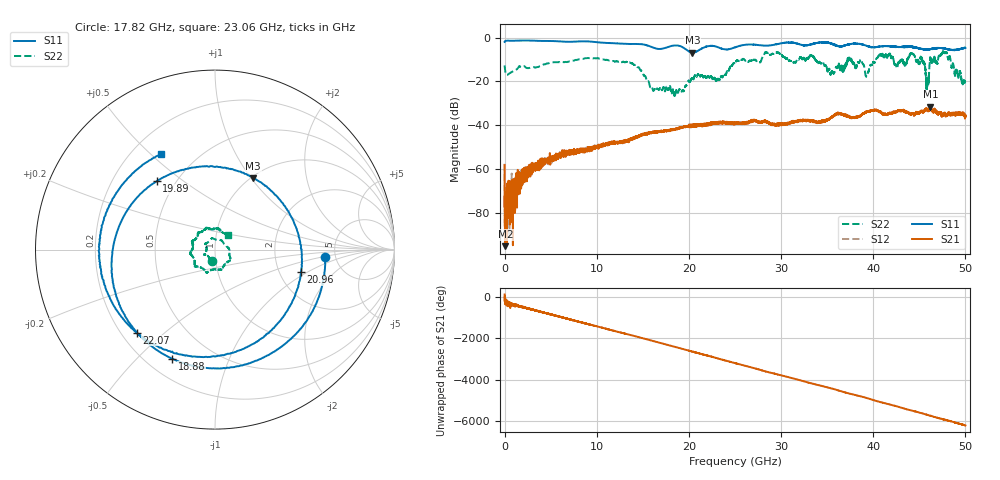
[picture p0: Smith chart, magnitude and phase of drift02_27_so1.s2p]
!Created with skrf (http://scikit-rf.org).
# Hz S RI R 50.0
!freq ReS11 ImS11 ReS21 ImS21 ReS12 ImS12 ReS22 ImS22
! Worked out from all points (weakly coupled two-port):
!   10001 points, 300 kHz to 50 GHz, reference 50 ohm
!   highest |S21| = -31.49 dB at 46.2 GHz (marker M1); lowest = -95.0 dB at 85.3 MHz (marker M2)
!   lowest |S11| = -6.9 dB at 20.38 GHz (marker M3), VSWR 2.64, Z = 51.2 + j51.2 ohm
!   |S11| at or under -10 dB: nowhere
!   |S22| runs from -26.7 to -6.3 dB; largest |S21 - S12| = 0.0028
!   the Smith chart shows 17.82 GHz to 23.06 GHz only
!   S11 on the Smith chart (normalised r, x): 17.82 GHz: 4.14, -0.54; 18.88 GHz: 0.30, -0.64; 19.89 GHz: 0.39, +0.40; 20.96 GHz: 2.63, -0.89; 22.07 GHz: 0.26, -0.41; 23.06 GHz: 0.32, +0.54
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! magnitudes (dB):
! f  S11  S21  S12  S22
! 300 kHz  -2.1  -58.1  -57.5  -12.7
! 85.3 MHz  -1.5  -95.0  -84.0  -16.0
! 260.3 MHz  -1.4  -66.5  -70.4  -17.0
! 8.335 GHz  -1.7  -51.4  -51.5  -9.7
! 13.71 GHz  -3.0  -46.5  -46.2  -11.6
! 16.67 GHz  -5.2  -42.8  -43.0  -23.5
! 17.82 GHz  -4.2  -42.2  -42.3  -23.5
! 18.88 GHz  -3.7  -41.5  -41.4  -24.4
! 19.89 GHz  -6.0  -40.5  -40.3  -20.1
! 20.38 GHz  -6.9  -40.3  -40.1  -18.9
! 20.96 GHz  -6.1  -39.7  -40.0  -16.9
! 22.07 GHz  -3.9  -39.5  -39.4  -17.6
! 23.06 GHz  -4.3  -38.4  -38.8  -19.1
! 25 GHz  -4.5  -38.8  -39.1  -11.4
! 33.34 GHz  -3.1  -37.7  -37.8  -8.4
! 39.31 GHz  -3.8  -33.7  -33.7  -17.1
! 41.67 GHz  -4.0  -34.7  -34.8  -7.7
! 44.27 GHz  -4.3  -34.4  -34.5  -7.3
! 45.85 GHz  -5.4  -33.0  -32.8  -19.3
! 46.2 GHz  -5.3  -31.5  -31.6  -9.2
! 47.76 GHz  -5.0  -34.6  -34.6  -6.7
! 50 GHz  -4.8  -36.1  -35.8  -19.6
